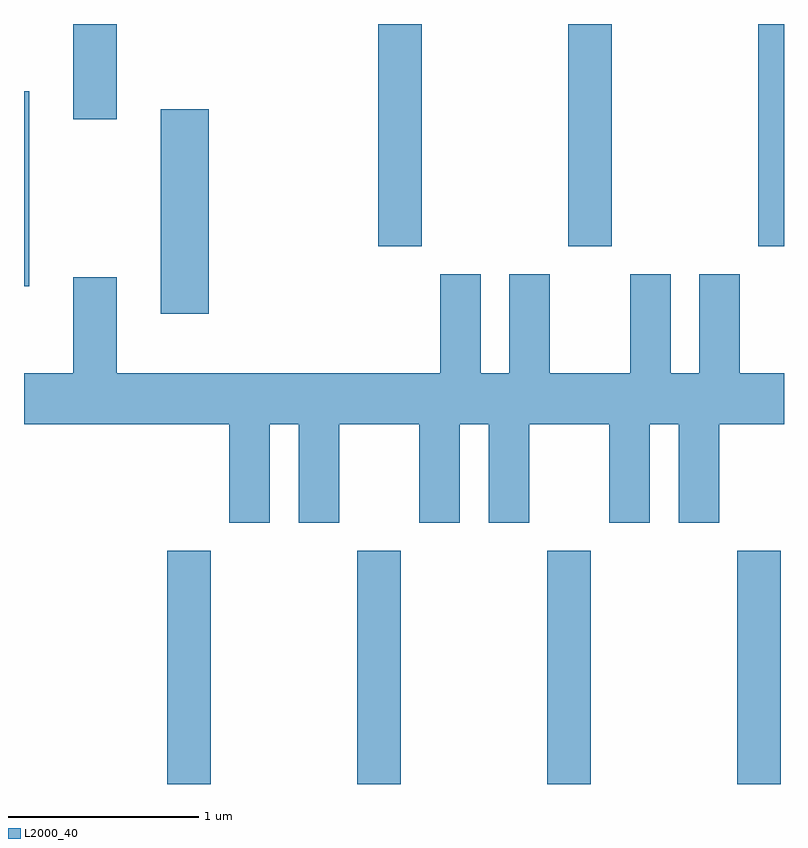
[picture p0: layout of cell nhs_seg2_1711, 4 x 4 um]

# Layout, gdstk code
import gdstk
lib = gdstk.Library(unit=1e-6, precision=1e-09)
def R(c, l, rs):  # rectangles x0, y0, x1, y1
    for r in rs: c.add(gdstk.rectangle(r[:2], r[2:], *l))
def A(c, l, x, y, w, h, nx, ny, dx, dy):  # array of equal rectangles
    R(c, l, [(x+i*dx, y+j*dy, x+i*dx+w, y+j*dy+h) for i in range(nx) for j in range(ny)])
def P(c, l, *ps):  # polygons
    for p in ps: c.add(gdstk.Polygon(p, *l))
L2000_40 = (2000, 40)

nhs_seg2_1711 = lib.new_cell('nhs_seg2_1711')
A(nhs_seg2_1711, L2000_40, 236.366, 999.802, 0.228, 1.227, 4, 1, 1, 0)
R(nhs_seg2_1711, L2000_40, [(236.331,1002.276,236.584,1003.354), (235.611,1002.421,235.639,1003.449), (237.476,1002.631,237.704,1003.802), (238.476,1002.631,238.704,1003.802), (239.476,1002.631,239.611,1003.802), (235.871,1003.301,236.099,1003.802)])
P(nhs_seg2_1711, L2000_40, [(238.691,1001.176),(238.904,1001.176),(238.904,1001.696),(239.056,1001.696),(239.056,1001.176),(239.269,1001.176),(239.269,1001.696),(239.611,1001.696),(239.611,1001.964),(239.379,1001.964),(239.379,1002.484),(239.166,1002.484),(239.166,1001.964),(239.014,1001.964),(239.014,1002.484),(238.801,1002.484),(238.801,1001.964),(238.379,1001.964),(238.379,1002.484),(238.166,1002.484),(238.166,1001.964),(238.014,1001.964),(238.014,1002.484),(237.801,1002.484),(237.801,1001.964),(236.099,1001.964),(236.099,1002.469),(235.871,1002.469),(235.871,1001.964),(235.611,1001.964),(235.611,1001.696),(236.691,1001.696),(236.691,1001.176),(236.904,1001.176),(236.904,1001.696),(237.056,1001.696),(237.056,1001.176),(237.269,1001.176),(237.269,1001.696),(237.691,1001.696),(237.691,1001.176),(237.904,1001.176),(237.904,1001.696),(238.056,1001.696),(238.056,1001.176),(238.269,1001.176),(238.269,1001.696),(238.691,1001.696)])

lib.write_gds('nhs_seg2_1711.gds')
